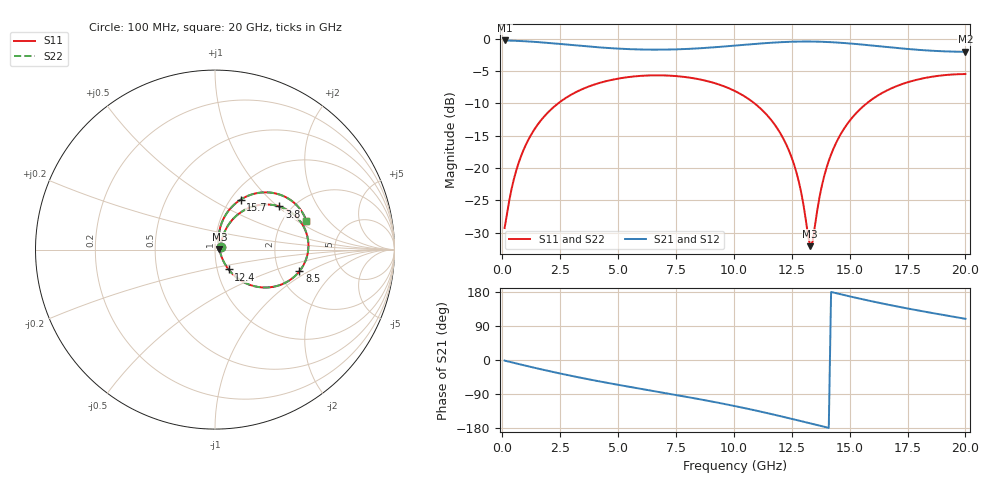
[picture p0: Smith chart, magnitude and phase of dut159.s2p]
! Touchstone file exported from HFSS 2026.1.0
!  File:  C:/ffzhzh/LocalFiles/Ansys_Project_Files/temp_train_TSV_RDL_159_1783053438_45820.aedt
!  Generated:  12:47:02 PM Jul  3, 2026
!  Design:  TSV_RDL
!  Project:  temp_train_TSV_RDL_159_1783053438_45820
! Variables:
!  h_bsmrdl = 5.87um
!  h_ox = 20um
!  h_rdl = 5um
!  h_sub = 55.12um
!  h_tmrdl = 2.25um
!  h_tsv = 55.12um
!  h_via = 3um
!  l_bsmrdl = 618.92um
!  l_sub = 4198.5um
!  l_tmrdl = 458.18um
!  m_sub = 200um
!  pitch = 46.96um
!  r_tsv = 13.8um
!  s_tmrdl = 10um
!  w_bsmrdl = 25.27um
!  w_sub = 500um
!  w_tmrdl = 11.07um
!  x_tsv_center1 = 463.715um
!  x_tsv_center2 = 1107.905um
!  x_tsv_center3 = 1577.155um
!  x_tsv_center4 = 2221.345um
!  x_tsv_center5 = 2690.595um
!  x_tsv_center6 = 3334.785um
# GHz S MA R 50.000000
! Terminal data exported
! Port[1] = TM_RDL1_1_T1
! Port[2] = TM_RDL5_1_T1
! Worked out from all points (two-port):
!   200 points, 100 MHz to 20 GHz, reference 50 ohm
!   highest |S21| = -0.27 dB at 100 MHz (marker M1); lowest = -2.0 dB at 20 GHz (marker M2)
!   |S21| within 3 dB of the highest: start of sweep to end of sweep
!   lowest |S11| = -32.1 dB at 13.3 GHz (marker M3), VSWR 1.05, Z = 52.6 + j0.125 ohm
!   |S11| at or under -10 dB: start of sweep to 2.41 GHz; 10.9 GHz to 15.74 GHz (4.84 GHz wide, 36.3 % of centre)
!   |S22| runs from -32.0 to -5.5 dB; largest |S21 - S12| = 1.5e-14
!   S11 on the Smith chart (normalised r, x): 100 MHz: 1.06, +0.03; 3.8 GHz: 1.73, +1.02; 8.5 GHz: 2.59, -0.82; 12.4 GHz: 1.13, -0.25; 15.7 GHz: 1.11, +0.68; 20 GHz: 2.68, +1.20
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0.1  0.03446 25.5  0.9692 -1.6  0.9692 -1.6  0.03446 25.5
! Gamma 0 0 0 0
! Port Impedance 50 0 50 0
0.6  0.0955 60.4  0.9626 -9.1  0.9626 -9.1  0.0955 60.4
1.2  0.1753 60.7  0.9503 -17.8  0.9503 -17.8  0.1753 60.7
2.2  0.2944 51.4  0.9204 -31.7  0.9204 -31.7  0.2944 51.4
3.5  0.411 37.1  0.877 -48.2  0.877 -48.2  0.411 37.1
3.8  0.4315 33.8  0.8678 -51.8  0.8678 -51.8  0.4315 33.8
5.3  0.5013 18.1  0.8332 -68.8  0.8332 -68.8  0.5013 18.1
6.8  0.5212 3.0  0.8229 -84.8  0.8229 -84.8  0.5212 3.0
8.5  0.4859 -14.4  0.8428 -103.3  0.8428 -103.3  0.4859 -14.4
10.1  0.3898 -31.9  0.8859 -122.3  0.8859 -122.3  0.3898 -31.9
11.5  0.2491 -47.9  0.9279 -140.9  0.9279 -140.9  0.2491 -47.9
12.4  0.1339 -55.6  0.9462 -153.8  0.9462 -153.8  0.1339 -55.5
12.9  0.066 -51.4  0.9508 -161.2  0.9508 -161.2  0.06603 -51.3
13.3  0.02495 2.7  0.951 -167.2  0.951 -167.2  0.02503 2.7
13.4  0.02702 33.3  0.9505 -168.7  0.9505 -168.7  0.0271 33.2
13.8  0.07293 73.8  0.9467 -174.7  0.9467 -174.7  0.07296 73.7
14.2  0.1275 76.7  0.94 179.4  0.94 179.4  0.1275 76.6
14.8  0.2069 72.6  0.9251 170.8  0.9251 170.8  0.2069 72.6
15.7  0.3125 62.9  0.8954 158.4  0.8954 158.4  0.3124 62.9
16.7  0.4053 51.6  0.8594 145.5  0.8594 145.5  0.4053 51.6
18.2  0.4951 35.5  0.8146 128.0  0.8146 128.0  0.4951 35.5
20  0.5333 17.5  0.7921 108.7  0.7921 108.7  0.5332 17.5
